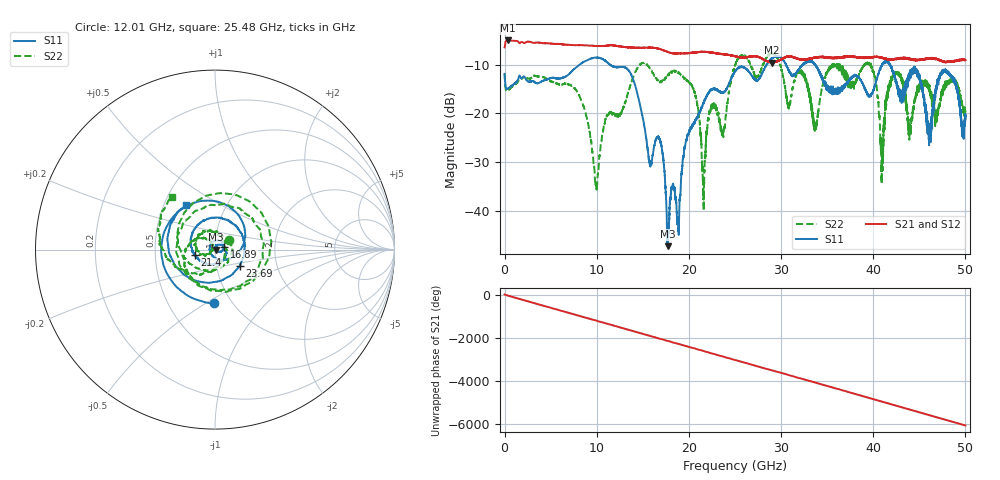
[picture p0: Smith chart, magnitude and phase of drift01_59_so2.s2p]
!Created with skrf (http://scikit-rf.org).
# Hz S RI R 50.0
!freq ReS11 ImS11 ReS21 ImS21 ReS12 ImS12 ReS22 ImS22
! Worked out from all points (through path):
!   10001 points, 300 kHz to 50 GHz, reference 50 ohm
!   highest |S21| = -5.05 dB at 325.3 MHz (marker M1); lowest = -9.6 dB at 29.05 GHz (marker M2)
!   group delay of S21, straight-line fit = 336 ps
!   lowest |S11| = -47.2 dB at 17.68 GHz (marker M3), VSWR 1.01, Z = 50.4 - j0.117 ohm
!   |S11| at or under -10 dB: start of sweep to 8.151 GHz; 11.43 GHz to 28.42 GHz (16.99 GHz wide, 85.3 % of centre); 41.84 GHz to end of sweep (the widest 3 of 16)
!   |S22| runs from -40.0 to -7.6 dB; largest |S21 - S12| = 0.015
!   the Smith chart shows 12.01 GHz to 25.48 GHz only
!   S11 on the Smith chart (normalised r, x): 12.01 GHz: 0.83, -0.55; 16.89 GHz: 1.11, +0.03; 21.4 GHz: 0.80, -0.05; 23.69 GHz: 1.30, -0.24; 25.48 GHz: 0.65, +0.35
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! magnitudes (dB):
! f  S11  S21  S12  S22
! 300 kHz  -11.9  -6.5  -6.5  -11.8
! 325.3 MHz  -14.9  -5.1  -5.1  -15.3
! 8.335 GHz  -9.7  -6.0  -6.0  -17.5
! 9.95 GHz  -8.5  -6.2  -6.2  -34.8
! 12.01 GHz  -10.5  -6.1  -6.1  -20.5
! 15.77 GHz  -30.5  -6.5  -6.5  -10.8
! 16.67 GHz  -24.8  -6.7  -6.7  -13.3
! 16.89 GHz  -25.6  -6.8  -6.8  -13.5
! 17.68 GHz  -47.2  -7.4  -7.4  -12.4
! 20.46 GHz  -22.3  -7.5  -7.6  -14.9
! 21.4 GHz  -18.7  -7.4  -7.4  -30.0
! 22.48 GHz  -15.0  -7.5  -7.6  -18.9
! 23.69 GHz  -15.6  -7.9  -7.9  -23.6
! 25 GHz  -11.3  -8.3  -8.3  -10.2
! 25.48 GHz  -10.6  -8.5  -8.5  -8.4
! 29.05 GHz  -8.7  -9.6  -9.6  -7.8
! 33.34 GHz  -9.5  -8.7  -8.7  -19.5
! 39.49 GHz  -16.3  -8.5  -8.6  -9.7
! 40.98 GHz  -9.9  -8.7  -8.6  -27.8
! 41.67 GHz  -9.5  -8.8  -8.9  -14.2
! 48.01 GHz  -11.5  -9.5  -9.4  -13.6
! 50 GHz  -20.7  -9.1  -9.1  -20.1
